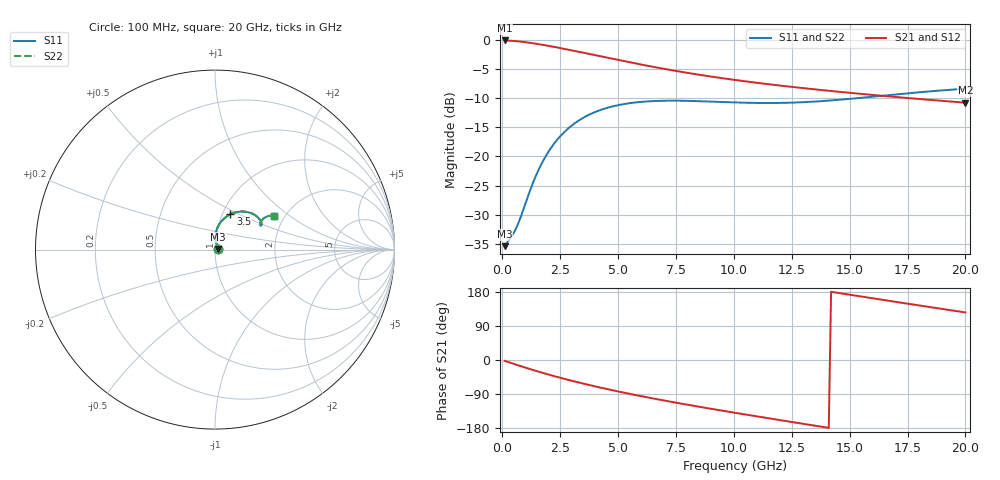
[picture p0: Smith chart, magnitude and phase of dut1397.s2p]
! Touchstone file exported from HFSS 2024.1.0
!  File:  C:/UserFiles/LocalFiles/RDL_TSV_Batchsim/temp_RDL_TSV_1397_1780405356.aedt
!  Generated:  09:20:49 PM Jun  2, 2026
!  Design:  RDL_TSV
!  Project:  temp_RDL_TSV_1397_1780405356
!  Setup:  Setup1
!  Solution:  Sweep
! Variables:
!  dtsv = 12.31um
!  hbump = 3um
!  htsv = 68.45um
!  ldown = 462.88um
!  lrdl = 515.8um
!  p = 40
!  p1 = 53.24um
!  rhole = 10um
!  subl = 3451.84um
!  t = 450um
!  tdown = 4.78um
!  trdl = 3.58um
!  viad = 10um
!  wdown = 18.38um
!  wrdl = 19.07um
!  xbump = 18um
# GHz S MA R 50.000000
! Terminal data exported
! Port[1] = TM1_1_T1
! Port[2] = TM1_4_T1
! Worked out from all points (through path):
!   200 points, 100 MHz to 20 GHz, reference 50 ohm
!   highest |S21| = -0.15 dB at 100 MHz (marker M1); lowest = -10.8 dB at 20 GHz (marker M2)
!   group delay of S21, straight-line fit = 30.6 ps
!   lowest |S11| = -35.4 dB at 100 MHz (marker M3), VSWR 1.03, Z = 51.7 + j0.38 ohm
!   |S11| at or under -10 dB: start of sweep to 15.41 GHz
!   |S22| runs from -35.4 to -8.4 dB; largest |S21 - S12| = 4.3e-14
!   S11 on the Smith chart (normalised r, x): 100 MHz: 1.03, +0.01; 3.5 GHz: 1.09, +0.45; 20 GHz: 1.77, +0.78
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0.1  0.01707 12.4  0.9828 -2.1  0.9828 -2.1  0.01707 12.4
! Gamma 0 0 0 0
! Port Impedance 50 0 50 0
0.6  0.02433 56.2  0.9692 -12.4  0.9692 -12.4  0.02432 56.2
1  0.03962 79.8  0.9502 -20.2  0.9502 -20.2  0.03964 79.9
1.4  0.06462 87.4  0.9258 -27.8  0.9258 -27.8  0.06468 87.5
1.6  0.07922 87.8  0.9123 -31.4  0.9123 -31.4  0.0793 87.9
1.9  0.1023 86.2  0.891 -36.7  0.891 -36.7  0.1024 86.3
2.2  0.1258 83.2  0.8688 -41.8  0.8688 -41.8  0.1259 83.3
2.6  0.156 78.2  0.8387 -48.4  0.8387 -48.4  0.1562 78.3
3  0.1839 72.9  0.8086 -54.8  0.8086 -54.8  0.1842 73.0
3.5  0.2144 66.4  0.7715 -62.3  0.7715 -62.3  0.2148 66.5
4.2  0.2482 58.0  0.7218 -72.3  0.7218 -72.3  0.2486 58.1
5.1  0.2772 48.8  0.663 -84.3  0.663 -84.3  0.2777 48.9
5.9  0.2918 42.2  0.6164 -94.2  0.6164 -94.2  0.2924 42.3
6.8  0.299 36.4  0.5705 -104.8  0.5705 -104.8  0.2997 36.4
8.4  0.2975 29.9  0.5038 -122.3  0.5038 -122.3  0.2983 29.9
10.1  0.2896 27.5  0.4499 -139.8  0.4499 -139.8  0.2905 27.5
11.7  0.2866 28.3  0.4104 -155.7  0.4104 -155.7  0.2876 28.3
13.4  0.294 30.6  0.3767 -172.3  0.3767 -172.3  0.295 30.5
15  0.3108 32.3  0.3503 172.3  0.3503 172.3  0.3117 32.2
16.7  0.3348 32.7  0.3263 156.2  0.3263 156.2  0.3357 32.6
18.3  0.3582 31.7  0.3067 141.2  0.3067 141.2  0.359 31.6
20  0.38 29.7  0.2886 125.5  0.2886 125.5  0.3807 29.6
